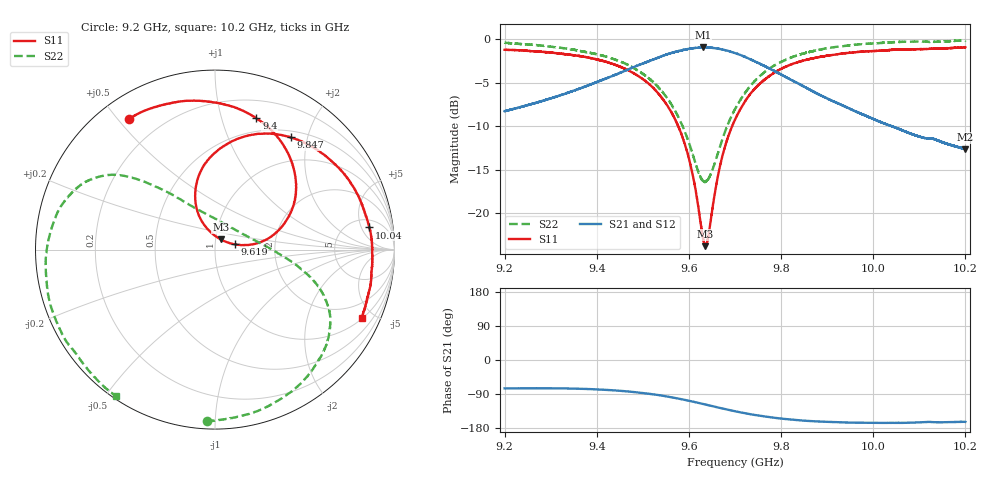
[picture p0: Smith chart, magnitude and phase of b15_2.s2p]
!Agilent Technologies,N5242A,MY51221714,A.09.90.19
!Agilent N5242A: A.09.90.19
!Date: Saturday, December 30, 2023 10:10:50
!Correction: S11(Full 2 Port(1,2))
!S21(Full 2 Port(1,2))
!S12(Full 2 Port(1,2))
!S22(Full 2 Port(1,2))
!S2P File: Measurements: S11, S21, S12, S22:
# Hz S  dB  R 50
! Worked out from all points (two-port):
!   16001 points, 9.2 GHz to 10.2 GHz, reference 50 ohm
!   highest |S21| = -0.91 dB at 9.63 GHz (marker M1); lowest = -12.6 dB at 10.2 GHz (marker M2)
!   |S21| within 3 dB of the highest: 9.447 GHz to 9.795 GHz (348.2 MHz wide, 3.62 % of centre); 9.795567 GHz to 9.795667 GHz (100.1 kHz wide, 0.00102 % of centre)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
!   lowest |S11| = -23.8 dB at 9.636 GHz (marker M3), VSWR 1.14, Z = 52.9 + j6 ohm
!   |S11| at or under -10 dB: 9.577 GHz to 9.694 GHz (116.6 MHz wide, 1.21 % of centre)
!   |S22| runs from -16.4 to -0.1 dB; largest |S21 - S12| = 0.013
!   S11 on the Smith chart (normalised r, x): 9.2 GHz: 0.09, +0.54; 9.4 GHz: 0.37, +1.30; 9.619 GHz: 1.24, +0.07; 9.847 GHz: 0.59, +1.73; 10.04 GHz: 7, +7; 10.2 GHz: 1.06, -4.26
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9.2e9  -1.19 123.2  -8.25 -75.1  -8.23 -75.8  -0.38 -92.8
9.277875e9  -1.41 104.7  -7.14 -74.6  -7.13 -75.2  -0.70 -71.9
9.366688e9  -1.94 82.1  -5.58 -76.0  -5.56 -76.7  -1.35 -49.6
9.400438e9  -2.30 72.5  -4.90 -77.6  -4.88 -78.4  -1.71 -41.6
9.47525e9  -3.74 49.0  -3.29 -83.8  -3.27 -84.5  -3.13 -26.0
9.533375e9  -6.21 28.2  -2.09 -92.5  -2.08 -93.1  -5.49 -15.0
9.585812e9  -11.23 10.2  -1.22 -104.0  -1.22 -104.6  -9.92 -0.2
9.604e9  -14.60 8.0  -1.05 -108.7  -1.04 -109.3  -12.51 11.2
9.619438e9  -18.93 15.1  -0.95 -112.9  -0.94 -113.5  -15.08 30.2
9.63025e9  -22.74 38.5  -0.91 -115.9  -0.92 -116.6  -16.28 51.1
9.635875e9  -23.78 60.8  -0.93 -117.5  -0.92 -118.2  -16.39 63.6
9.670375e9  -13.90 115.3  -1.13 -127.3  -1.12 -127.9  -11.85 115.4
9.7e9  -9.24 108.3  -1.56 -135.2  -1.55 -135.9  -8.02 128.4
9.774938e9  -4.20 80.2  -3.34 -150.7  -3.34 -151.6  -3.33 142.4
9.84725e9  -2.44 56.0  -5.35 -159.8  -5.35 -160.5  -1.64 154.0
9.866688e9  -2.19 50.1  -5.90 -161.4  -5.90 -162.0  -1.37 157.6
9.948562e9  -1.53 28.3  -7.97 -165.1  -7.95 -165.8  -0.69 174.6
1.003338e10  -1.22 8.5  -9.85 -165.9  -9.84 -166.7  -0.35 -166.0
1.003544e10  -1.22 8.2  -9.90 -165.8  -9.88 -166.6  -0.34 -165.5
1.010656e10  -1.12 -6.6  -11.29 -164.2  -11.27 -164.9  -0.24 -148.2
1.019912e10  -0.93 -24.8  -12.62 -163.1  -12.60 -163.9  -0.13 -124.2
1.02e10  -0.91 -25.0  -12.60 -163.1  -12.61 -163.9  -0.12 -124.0
